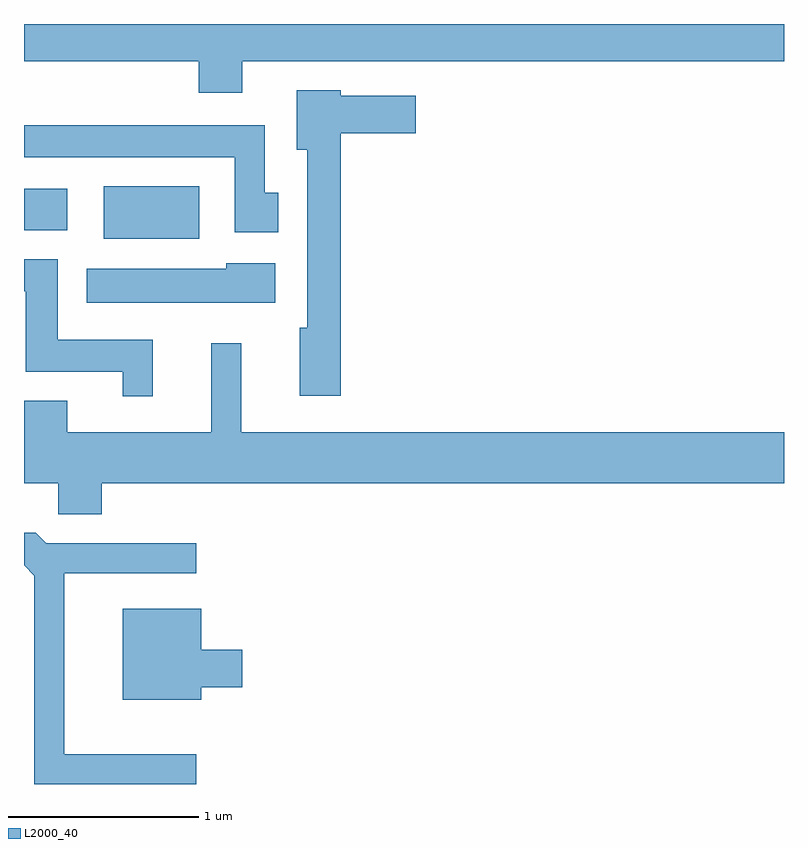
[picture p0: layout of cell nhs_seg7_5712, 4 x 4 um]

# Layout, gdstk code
import gdstk
lib = gdstk.Library(unit=1e-6, precision=1e-09)
def R(c, l, rs):  # rectangles x0, y0, x1, y1
    for r in rs: c.add(gdstk.rectangle(r[:2], r[2:], *l))
def P(c, l, *ps):  # polygons
    for p in ps: c.add(gdstk.Polygon(p, *l))
L2000_40 = (2000, 40)

nhs_seg7_5712 = lib.new_cell('nhs_seg7_5712')
R(nhs_seg7_5712, L2000_40, [(360.031,1751.121,360.534,1751.399), (359.611,1751.166,359.839,1751.384)])
P(nhs_seg7_5712, L2000_40, [(360.759,1752.056),(363.611,1752.056),(363.611,1752.252),(359.611,1752.252),(359.611,1752.056),(360.531,1752.056),(360.531,1751.891),(360.759,1751.891)],
  [(361.279,1751.676),(361.674,1751.676),(361.674,1751.874),(361.279,1751.874),(361.279,1751.904),(361.046,1751.904),(361.046,1751.591),(361.101,1751.591),(361.101,1750.654),(361.061,1750.654),(361.061,1750.296),(361.279,1750.296)],
  [(360.949,1751.364),(360.879,1751.364),(360.879,1751.719),(359.611,1751.719),(359.611,1751.551),(360.721,1751.551),(360.721,1751.156),(360.949,1751.156)],
  [(360.289,1750.589),(359.789,1750.589),(359.789,1751.014),(359.611,1751.014),(359.611,1750.846),(359.621,1750.846),(359.621,1750.421),(360.131,1750.421),(360.131,1750.293),(360.289,1750.293)],
  [(360.934,1750.994),(360.676,1750.994),(360.676,1750.964),(359.941,1750.964),(359.941,1750.786),(360.934,1750.786)],
  [(360.019,1749.836),(363.611,1749.836),(363.611,1750.104),(360.754,1750.104),(360.754,1750.573),(360.596,1750.573),(360.596,1750.104),(359.839,1750.104),(359.839,1750.269),(359.611,1750.269),(359.611,1749.836),(359.791,1749.836),(359.791,1749.671),(360.019,1749.671)],
  [(360.518,1748.409),(359.824,1748.409),(359.824,1749.361),(360.518,1749.361),(360.518,1749.519),(359.727,1749.519),(359.672,1749.574),(359.611,1749.574),(359.611,1749.404),(359.666,1749.349),(359.666,1748.252),(360.518,1748.252)],
  [(360.544,1748.761),(360.759,1748.761),(360.759,1748.959),(360.544,1748.959),(360.544,1749.174),(360.131,1749.174),(360.131,1748.696),(360.544,1748.696)])

lib.write_gds('nhs_seg7_5712.gds')
